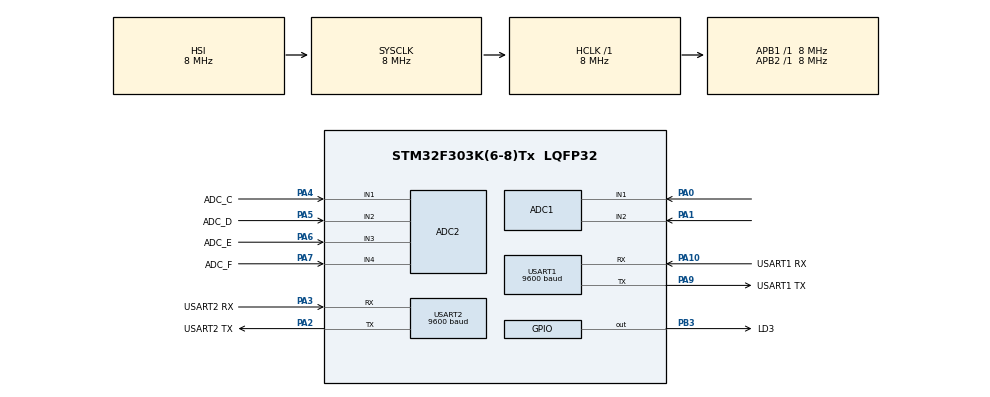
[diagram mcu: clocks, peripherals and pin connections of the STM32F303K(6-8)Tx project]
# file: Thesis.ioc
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ADC1.Channel-5\#ChannelRegularConversion=ADC_CHANNEL_2
ADC1.NbrOfConversionFlag=1
ADC1.Offset-5\#ChannelRegularConversion=0
ADC1.OffsetNumber-5\#ChannelRegularConversion=ADC_OFFSET_NONE
ADC1.Rank-5\#ChannelRegularConversion=1
ADC1.SamplingTime-5\#ChannelRegularConversion=ADC_SAMPLETIME_1CYCLE_5
ADC1.master=1
ADC2.Channel-0\#ChannelRegularConversion=ADC_CHANNEL_1
ADC2.NbrOfConversionFlag=1
ADC2.Offset-0\#ChannelRegularConversion=0
ADC2.OffsetNumber-0\#ChannelRegularConversion=ADC_OFFSET_NONE
ADC2.Rank-0\#ChannelRegularConversion=1
ADC2.SamplingTime-0\#ChannelRegularConversion=ADC_SAMPLETIME_1CYCLE_5
ADC2.SingleDiff-0\#ChannelRegularConversion=ADC_DIFFERENTIAL_ENDED
ADC2.SubFamily=STM32F303x8
FREERTOS.Queues01=msgQueue,16,uint8_t,0,Dynamic,NULL,NULL
FREERTOS.Tasks01=mainTask,0,128,StartMainTask,Default,NULL,Dynamic,NULL,NULL;messagingTask,-3,128,StartMessagingTask,Default,NULL,Dynamic,NULL,NULL
FREERTOS.configTOTAL_HEAP_SIZE=4096
Mcu.Family=STM32F3
Mcu.Name=STM32F303K(6-8)Tx
Mcu.Package=LQFP32
NVIC.PriorityGroup=NVIC_PRIORITYGROUP_4
NVIC.TIM1_TRG_COM_TIM17_IRQn=true\:0\:0\:false\:false\:true\:false\:false
NVIC.TimeBase=TIM1_TRG_COM_TIM17_IRQn
NVIC.TimeBaseIP=TIM17
NVIC.USART1_IRQn=true\:5\:0\:false\:false\:true\:true\:true
NVIC.USART2_IRQn=true\:5\:0\:false\:false\:true\:true\:true
PA0.Mode=IN1-Single-Ended
PA0.Signal=ADC1_IN1
PA1.Mode=IN2-Single-Ended
PA1.Signal=ADC1_IN2
PA10.GPIO_Label=USART1 RX
PA10.Mode=Asynchronous
PA10.Signal=USART1_RX
PA13.GPIO_Label=SWDIO
PA13.Mode=Serial_Wire
PA13.Signal=SYS_JTMS-SWDIO
PA14.GPIO_Label=SWCLK
PA14.Mode=Serial_Wire
PA14.Signal=SYS_JTCK-SWCLK
PA2.GPIO_Label=USART2 TX
PA2.Mode=Asynchronous
PA2.Signal=USART2_TX
PA3.GPIO_Label=USART2 RX
PA3.Mode=Asynchronous
PA3.Signal=USART2_RX
PA4.GPIO_Label=ADC_C
PA4.Mode=IN1-Differential
PA4.Signal=ADC2_IN1
PA5.GPIO_Label=ADC_D
PA5.Mode=IN1-Differential
PA5.Signal=ADC2_IN2
PA6.GPIO_Label=ADC_E
PA6.Mode=IN3-Differential
PA6.Signal=ADC2_IN3
PA7.GPIO_Label=ADC_F
PA7.Mode=IN3-Differential
PA7.Signal=ADC2_IN4
PA9.GPIO_Label=USART1 TX
PA9.Mode=Asynchronous
PA9.Signal=USART1_TX
PB3.GPIO_Label=LD3
PB3.Signal=GPIO_Output
PF0\ /\ OSC_IN.GPIO_Label=MCO
PF0\ /\ OSC_IN.Mode=HSE-External-Clock-Source
PF0\ /\ OSC_IN.Signal=RCC_OSC_IN
ProjectManager.HeapSize=0x200
ProjectManager.StackSize=0x400
ProjectManager.TargetToolchain=TrueSTUDIO
RCC.AHBFreq_Value=8000000
RCC.APB1Freq_Value=8000000
RCC.APB2Freq_Value=8000000
RCC.CortexFreq_Value=8000000
RCC.HSE_VALUE=8000000
RCC.HSI_VALUE=8000000
RCC.PLLMUL=RCC_PLL_MUL4
RCC.SYSCLKFreq_VALUE=8000000
USART1.BaudRate=9600
USART1.VirtualMode-Asynchronous=VM_ASYNC
USART1.WordLength=WORDLENGTH_8B
USART2.BaudRate=9600
USART2.VirtualMode-Asynchronous=VM_ASYNC
USART2.WordLength=WORDLENGTH_8B
VP_FREERTOS_VS_ENABLE.Mode=Enabled
VP_SYS_VS_tim17.Mode=TIM17
board=NUCLEO-F303K8

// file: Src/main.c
/**
  ******************************************************************************
  * @file           : main.c
  * @brief          : Main program body
  ******************************************************************************
  * This notice applies to any and all portions of this file
  * that are not between comment pairs USER CODE BEGIN and
  * USER CODE END. Other portions of this file, whether
  * inserted by the user or by software development tools
  * are owned by their respective copyright owners.
  *
  * Copyright (c) 2018 STMicroelectronics International N.V.
  * All rights reserved.
  *
  * Redistribution and use in source and binary forms, with or without
  * modification, are permitted, provided that the following conditions are met:
  *
  * 1. Redistribution of source code must retain the above copyright notice,
  *    this list of conditions and the following disclaimer.
  * 2. Redistributions in binary form must reproduce the above copyright notice,
  *    this list of conditions and the following disclaimer in the documentation
  *    and/or other materials provided with the distribution.
  * 3. Neither the name of STMicroelectronics nor the names of other
  *    contributors to this software may be used to endorse or promote products
  *    derived from this software without specific written permission.
  * 4. This software, including modifications and/or derivative works of this
  *    software, must execute solely and exclusively on microcontroller or
  *    microprocessor devices manufactured by or for STMicroelectronics.
  * 5. Redistribution and use of this software other than as permitted under
  *    this license is void and will automatically terminate your rights under
  *    this license.
  *
  * THIS SOFTWARE IS PROVIDED BY STMICROELECTRONICS AND CONTRIBUTORS "AS IS"
  * AND ANY EXPRESS, IMPLIED OR STATUTORY WARRANTIES, INCLUDING, BUT NOT
  * LIMITED TO, THE IMPLIED WARRANTIES OF MERCHANTABILITY, FITNESS FOR A
  * PARTICULAR PURPOSE AND NON-INFRINGEMENT OF THIRD PARTY INTELLECTUAL PROPERTY
  * RIGHTS ARE DISCLAIMED TO THE FULLEST EXTENT PERMITTED BY LAW. IN NO EVENT
  * SHALL STMICROELECTRONICS OR CONTRIBUTORS BE LIABLE FOR ANY DIRECT, INDIRECT,
  * INCIDENTAL, SPECIAL, EXEMPLARY, OR CONSEQUENTIAL DAMAGES (INCLUDING, BUT NOT
  * LIMITED TO, PROCUREMENT OF SUBSTITUTE GOODS OR SERVICES; LOSS OF USE, DATA,
  * OR PROFITS; OR BUSINESS INTERRUPTION) HOWEVER CAUSED AND ON ANY THEORY OF
  * LIABILITY, WHETHER IN CONTRACT, STRICT LIABILITY, OR TORT (INCLUDING
  * NEGLIGENCE OR OTHERWISE) ARISING IN ANY WAY OUT OF THE USE OF THIS SOFTWARE,
  * EVEN IF ADVISED OF THE POSSIBILITY OF SUCH DAMAGE.
  *
  ******************************************************************************
  */
#include "main.h"
#include "stm32f3xx_hal.h"
#include "cmsis_os.h"

/* USER CODE BEGIN Includes */
#include "stdlib.h"
#include "stdio.h"
#include "string.h"
/* USER CODE END Includes */

ADC_HandleTypeDef hadc1;
ADC_HandleTypeDef hadc2;

UART_HandleTypeDef huart1;
UART_HandleTypeDef huart2;

osThreadId mainTaskHandle;
osThreadId messagingTaskHandle;
osMessageQId msgQueueHandle;

/* USER CODE BEGIN PV */
/* Private variables ---------------------------------------------------------*/
#define TXRXBUFFERSIZE	100
#define TRUE			1
#define FALSE			0
#define VERBOSE			TRUE

char* generalBuffer;

struct MSG {
	uint8_t type;
	uint8_t ID;
	uint8_t sign;
	uint32_t value;
};

uint8_t aRxBuffer[20];
char Rx_indx, Rx_data[2], Rx_Buffer[100], Transfer_cplt;
/* USER CODE END PV */

void SystemClock_Config(void);
static void MX_GPIO_Init(void);
static void MX_ADC2_Init(void);
static void MX_USART1_UART_Init(void);
static void MX_USART2_UART_Init(void);
static void MX_ADC1_Init(void);
void StartMainTask(void const * argument);
void StartMessagingTask(void const * argument);

/* USER CODE BEGIN PFP */
/* Private function prototypes -----------------------------------------------*/
void transmit(int, char*);
void toMsg(char*, char*);
void HAL_UART_RxCpltCallback(UART_HandleTypeDef *huart);
/* USER CODE END PFP */

int main(void)
{
  /* USER CODE BEGIN 1 */
	uint8_t byte;
	generalBuffer = (char*) malloc(sizeof(char) * TXRXBUFFERSIZE);
  /* USER CODE END 1 */

  /* MCU Configuration----------------------------------------------------------*/

  /* Reset of all peripherals, Initializes the Flash interface and the Systick. */
  HAL_Init();

  /* Configure the system clock */
  SystemClock_Config();

  /* Initialize all configured peripherals */
  MX_GPIO_Init();
  MX_ADC2_Init();
  MX_USART1_UART_Init();
  MX_USART2_UART_Init();
  MX_ADC1_Init();
  /* USER CODE BEGIN 2 */

	/* Enable RXNE interrupt */
	//USART_ITConfig(USART1, USART_IT_RXNE, ENABLE);
	//USART_ITConfig(USART2, USART_IT_RXNE, ENABLE);
	/* Enable USART1 global interrupt */
	//NVIC_EnableIRQ(USART1_IRQn);
	//NVIC_EnableIRQ(USART2_IRQn);
  /* USER CODE END 2 */

  /* Create the thread(s) */
  /* definition and creation of mainTask */
  osThreadDef(mainTask, StartMainTask, osPriorityNormal, 0, 128);
  mainTaskHandle = osThreadCreate(osThread(mainTask), NULL);

  /* definition and creation of messagingTask */
  osThreadDef(messagingTask, StartMessagingTask, osPriorityIdle, 0, 128);
  messagingTaskHandle = osThreadCreate(osThread(messagingTask), NULL);

  /* Create the queue(s) */
  /* definition and creation of msgQueue */
  osMessageQDef(msgQueue, 16, uint8_t);
  msgQueueHandle = osMessageCreate(osMessageQ(msgQueue), NULL);

  /* USER CODE BEGIN RTOS_QUEUES */
	/* add queues, ... */

	//Start transmitting
	osDelay(100);

	toMsg(generalBuffer, "\n\r\n\r\n\r>>YAY BOOTING\n\r");
	transmit(1, generalBuffer);
	transmit(2, generalBuffer);
	memset(generalBuffer, 0, TXRXBUFFERSIZE);
	HAL_UART_Receive_IT(&huart1, &byte, 1);
	HAL_UART_Receive_IT(&huart2, &byte, 1);
  /* USER CODE END RTOS_QUEUES */

  /* Start scheduler */
  osKernelStart();

  /* We should never get here as control is now taken by the scheduler */

  /* Infinite loop */
	while (1) {

	}

}

void SystemClock_Config(void)
{

  RCC_OscInitTypeDef RCC_OscInitStruct;
  RCC_ClkInitTypeDef RCC_ClkInitStruct;
  RCC_PeriphCLKInitTypeDef PeriphClkInit;

    /**Initializes the CPU, AHB and APB busses clocks
    */
  RCC_OscInitStruct.OscillatorType = RCC_OSCILLATORTYPE_HSI;
  RCC_OscInitStruct.HSIState = RCC_HSI_ON;
  RCC_OscInitStruct.HSICalibrationValue = 16;
  RCC_OscInitStruct.PLL.PLLState = RCC_PLL_ON;
  RCC_OscInitStruct.PLL.PLLSource = RCC_PLLSOURCE_HSI;
  RCC_OscInitStruct.PLL.PLLMUL = RCC_PLL_MUL4;
  if (HAL_RCC_OscConfig(&RCC_OscInitStruct) != HAL_OK)
  {
    _Error_Handler(__FILE__, __LINE__);
  }

    /**Initializes the CPU, AHB and APB busses clocks
    */
  RCC_ClkInitStruct.ClockType = RCC_CLOCKTYPE_HCLK|RCC_CLOCKTYPE_SYSCLK
                              |RCC_CLOCKTYPE_PCLK1|RCC_CLOCKTYPE_PCLK2;
  RCC_ClkInitStruct.SYSCLKSource = RCC_SYSCLKSOURCE_HSI;
  RCC_ClkInitStruct.AHBCLKDivider = RCC_SYSCLK_DIV1;
  RCC_ClkInitStruct.APB1CLKDivider = RCC_HCLK_DIV1;
  RCC_ClkInitStruct.APB2CLKDivider = RCC_HCLK_DIV1;

  if (HAL_RCC_ClockConfig(&RCC_ClkInitStruct, FLASH_LATENCY_0) != HAL_OK)
  {
    _Error_Handler(__FILE__, __LINE__);
  }

  PeriphClkInit.PeriphClockSelection = RCC_PERIPHCLK_USART1|RCC_PERIPHCLK_ADC12;
  PeriphClkInit.Usart1ClockSelection = RCC_USART1CLKSOURCE_PCLK1;
  PeriphClkInit.Adc12ClockSelection = RCC_ADC12PLLCLK_DIV1;
  if (HAL_RCCEx_PeriphCLKConfig(&PeriphClkInit) != HAL_OK)
  {
    _Error_Handler(__FILE__, __LINE__);
  }

    /**Configure the Systick interrupt time
    */
  HAL_SYSTICK_Config(HAL_RCC_GetHCLKFreq()/1000);

    /**Configure the Systick
    */
  HAL_SYSTICK_CLKSourceConfig(SYSTICK_CLKSOURCE_HCLK);

  /* SysTick_IRQn interrupt configuration */
  HAL_NVIC_SetPriority(SysTick_IRQn, 15, 0);
}

/* ADC1 init function */
static void MX_ADC1_Init(void)
{

  ADC_MultiModeTypeDef multimode;
  ADC_ChannelConfTypeDef sConfig;

    /**Common config
    */
  hadc1.Instance = ADC1;
  hadc1.Init.ClockPrescaler = ADC_CLOCK_ASYNC_DIV1;
  hadc1.Init.Resolution = ADC_RESOLUTION_12B;
  hadc1.Init.ScanConvMode = ADC_SCAN_DISABLE;
  hadc1.Init.ContinuousConvMode = DISABLE;
  hadc1.Init.DiscontinuousConvMode = DISABLE;
  hadc1.Init.ExternalTrigConvEdge = ADC_EXTERNALTRIGCONVEDGE_NONE;
  hadc1.Init.ExternalTrigConv = ADC_SOFTWARE_START;
  hadc1.Init.DataAlign = ADC_DATAALIGN_RIGHT;
  hadc1.Init.NbrOfConversion = 1;
  hadc1.Init.DMAContinuousRequests = DISABLE;
  hadc1.Init.EOCSelection = ADC_EOC_SINGLE_CONV;
  hadc1.Init.LowPowerAutoWait = DISABLE;
  hadc1.Init.Overrun = ADC_OVR_DATA_OVERWRITTEN;
  if (HAL_ADC_Init(&hadc1) != HAL_OK)
  {
    _Error_Handler(__FILE__, __LINE__);
  }

    /**Configure the ADC multi-mode
    */
  multimode.Mode = ADC_MODE_INDEPENDENT;
  if (HAL_ADCEx_MultiModeConfigChannel(&hadc1, &multimode) != HAL_OK)
  {
    _Error_Handler(__FILE__, __LINE__);
  }

    /**Configure Regular Channel
    */
  sConfig.Channel = ADC_CHANNEL_2;
  sConfig.Rank = ADC_REGULAR_RANK_1;
  sConfig.SingleDiff = ADC_SINGLE_ENDED;
  sConfig.SamplingTime = ADC_SAMPLETIME_1CYCLE_5;
  sConfig.OffsetNumber = ADC_OFFSET_NONE;
  sConfig.Offset = 0;
  if (HAL_ADC_ConfigChannel(&hadc1, &sConfig) != HAL_OK)
  {
    _Error_Handler(__FILE__, __LINE__);
  }

}

/* ADC2 init function */
static void MX_ADC2_Init(void)
{

  ADC_ChannelConfTypeDef sConfig;

    /**Common config
    */
  hadc2.Instance = ADC2;
  hadc2.Init.ClockPrescaler = ADC_CLOCK_ASYNC_DIV1;
  hadc2.Init.Resolution = ADC_RESOLUTION_12B;
  hadc2.Init.ScanConvMode = ADC_SCAN_DISABLE;
  hadc2.Init.ContinuousConvMode = DISABLE;
  hadc2.Init.DiscontinuousConvMode = DISABLE;
  hadc2.Init.ExternalTrigConvEdge = ADC_EXTERNALTRIGCONVEDGE_NONE;
  hadc2.Init.ExternalTrigConv = ADC_SOFTWARE_START;
  hadc2.Init.DataAlign = ADC_DATAALIGN_RIGHT;
  hadc2.Init.NbrOfConversion = 1;
  hadc2.Init.DMAContinuousRequests = DISABLE;
  hadc2.Init.EOCSelection = ADC_EOC_SINGLE_CONV;
  hadc2.Init.LowPowerAutoWait = DISABLE;
  hadc2.Init.Overrun = ADC_OVR_DATA_OVERWRITTEN;
  if (HAL_ADC_Init(&hadc2) != HAL_OK)
  {
    _Error_Handler(__FILE__, __LINE__);
  }

    /**Configure Regular Channel
    */
  sConfig.Channel = ADC_CHANNEL_1;
  sConfig.Rank = ADC_REGULAR_RANK_1;
  sConfig.SingleDiff = ADC_DIFFERENTIAL_ENDED;
  sConfig.SamplingTime = ADC_SAMPLETIME_1CYCLE_5;
  sConfig.OffsetNumber = ADC_OFFSET_NONE;
  sConfig.Offset = 0;
  if (HAL_ADC_ConfigChannel(&hadc2, &sConfig) != HAL_OK)
  {
    _Error_Handler(__FILE__, __LINE__);
  }

}

/* USART1 init function */
static void MX_USART1_UART_Init(void)
{

  huart1.Instance = USART1;
  huart1.Init.BaudRate = 9600;
  huart1.Init.WordLength = UART_WORDLENGTH_8B;
  huart1.Init.StopBits = UART_STOPBITS_1;
  huart1.Init.Parity = UART_PARITY_NONE;
  huart1.Init.Mode = UART_MODE_TX_RX;
  huart1.Init.HwFlowCtl = UART_HWCONTROL_NONE;
  huart1.Init.OverSampling = UART_OVERSAMPLING_16;
  huart1.Init.OneBitSampling = UART_ONE_BIT_SAMPLE_DISABLE;
  huart1.AdvancedInit.AdvFeatureInit = UART_ADVFEATURE_NO_INIT;
  if (HAL_UART_Init(&huart1) != HAL_OK)
  {
    _Error_Handler(__FILE__, __LINE__);
  }

}

/* USART2 init function */
static void MX_USART2_UART_Init(void)
{

  huart2.Instance = USART2;
  huart2.Init.BaudRate = 9600;
  huart2.Init.WordLength = UART_WORDLENGTH_8B;
  huart2.Init.StopBits = UART_STOPBITS_1;
  huart2.Init.Parity = UART_PARITY_NONE;
  huart2.Init.Mode = UART_MODE_TX_RX;
  huart2.Init.HwFlowCtl = UART_HWCONTROL_NONE;
  huart2.Init.OverSampling = UART_OVERSAMPLING_16;
  huart2.Init.OneBitSampling = UART_ONE_BIT_SAMPLE_DISABLE;
  huart2.AdvancedInit.AdvFeatureInit = UART_ADVFEATURE_NO_INIT;
  if (HAL_UART_Init(&huart2) != HAL_OK)
  {
    _Error_Handler(__FILE__, __LINE__);
  }

}

/** Configure pins as
        * Analog
        * Input
        * Output
        * EVENT_OUT
        * EXTI
*/
static void MX_GPIO_Init(void)
{

  GPIO_InitTypeDef GPIO_InitStruct;

  /* GPIO Ports Clock Enable */
  __HAL_RCC_GPIOF_CLK_ENABLE();
  __HAL_RCC_GPIOA_CLK_ENABLE();
  __HAL_RCC_GPIOB_CLK_ENABLE();

  /*Configure GPIO pin Output Level */
  HAL_GPIO_WritePin(LD3_GPIO_Port, LD3_Pin, GPIO_PIN_RESET);

  /*Configure GPIO pin : LD3_Pin */
  GPIO_InitStruct.Pin = LD3_Pin;
  GPIO_InitStruct.Mode = GPIO_MODE_OUTPUT_PP;
  GPIO_InitStruct.Pull = GPIO_NOPULL;
  GPIO_InitStruct.Speed = GPIO_SPEED_FREQ_LOW;
  HAL_GPIO_Init(LD3_GPIO_Port, &GPIO_InitStruct);

}

/* USER CODE BEGIN 4 */
void HAL_UART_RxCpltCallback(UART_HandleTypeDef *huart) {
	uint8_t byte;
	if (huart->Instance == USART1) {
		//Receive one byte
		HAL_UART_Receive_IT(&huart1, &byte, 1);
	}
	if (huart->Instance == USART2) {
		//Receive one byte
		HAL_UART_Receive_IT(&huart2, &byte, 1);
	}

	memset(generalBuffer, 0, TXRXBUFFERSIZE);
	sprintf(generalBuffer, "|%d|%c|\n\r", byte, byte);
	transmit(1, generalBuffer);
	transmit(2, generalBuffer);
	return;
}

void transmit(int channel, char* b) {
	UART_HandleTypeDef c;
	if (channel == 1) {
		c = huart1;
	} else {
		c = huart2;
	}

	if (HAL_UART_Transmit(&c, (uint8_t*) b,
	TXRXBUFFERSIZE, 1000) != HAL_OK) {
		Error_Handler();
	}
}

void toMsg(char* b, char* msg) {
	memset(b, 0, TXRXBUFFERSIZE);
	sprintf(b, msg);
	return;
}

void initMsg(struct MSG msg) {
	msg.type = 1;
	msg.ID = 0;
	msg.sign = 0;
	msg.value = 0;
	return;
}

/* ****************************************************************************************************************
 * ****************************************************************************************************************
 * ****************************************************************************************************************
 * ************************************************************************************************************* */

/* USER CODE END 4 */

/* StartMainTask function */
void StartMainTask(void const * argument)
{

  /* USER CODE BEGIN 5 */
	/* Infinite loop */

	for (;;) {
		osDelay(10);
		HAL_GPIO_TogglePin(LD3_GPIO_Port, LD3_Pin);

		toMsg(generalBuffer, ".");
		transmit(1, generalBuffer);
		transmit(2, generalBuffer);
	}
  /* USER CODE END 5 */
}

/* StartMessagingTask function */
void StartMessagingTask(void const * argument)
{
  /* USER CODE BEGIN StartMessagingTask */
	/* Infinite loop *
	 */

	for (;;) {
		osDelay(1);
	}
  /* USER CODE END StartMessagingTask */
}

void HAL_TIM_PeriodElapsedCallback(TIM_HandleTypeDef *htim)
{
  if (htim->Instance == TIM17) {
    HAL_IncTick();
  }
}

void _Error_Handler(char *file, int line)
{
  /* USER CODE BEGIN Error_Handler_Debug */
	/* User can add his own implementation to report the HAL error return state */
	while (1) {
		HAL_GPIO_TogglePin(LD3_GPIO_Port, LD3_Pin);
		osDelay(1000);
	}
  /* USER CODE END Error_Handler_Debug */
}

/************************ (C) COPYRIGHT STMicroelectronics *****END OF FILE****/
